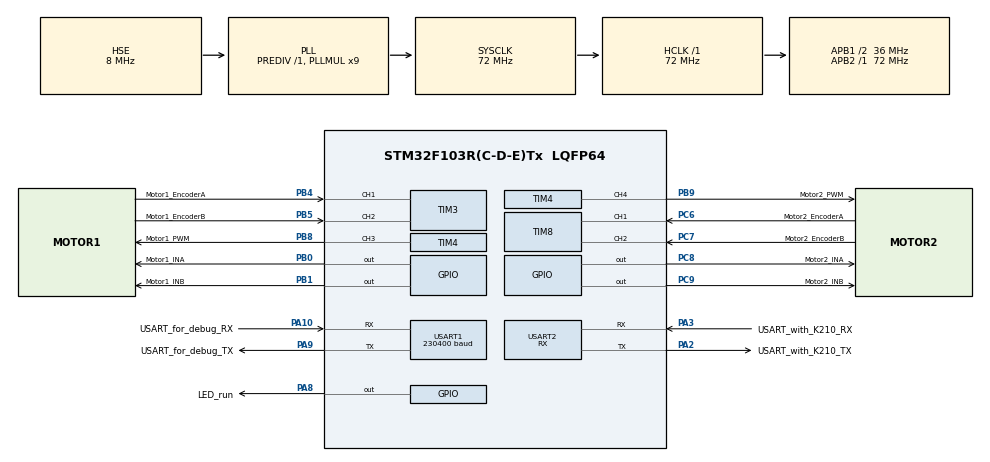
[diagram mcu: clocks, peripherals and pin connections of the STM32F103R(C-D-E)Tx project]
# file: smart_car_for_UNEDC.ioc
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Dma.Request0=USART1_RX
Dma.Request1=USART2_RX
Dma.Request2=USART1_TX
Dma.USART1_RX.0.Direction=DMA_PERIPH_TO_MEMORY
Dma.USART1_RX.0.Instance=DMA1_Channel5
Dma.USART1_RX.0.MemDataAlignment=DMA_MDATAALIGN_BYTE
Dma.USART1_RX.0.MemInc=DMA_MINC_ENABLE
Dma.USART1_RX.0.Mode=DMA_NORMAL
Dma.USART1_RX.0.PeriphDataAlignment=DMA_PDATAALIGN_BYTE
Dma.USART1_RX.0.PeriphInc=DMA_PINC_DISABLE
Dma.USART1_RX.0.Priority=DMA_PRIORITY_LOW
Dma.USART1_TX.2.Direction=DMA_MEMORY_TO_PERIPH
Dma.USART1_TX.2.Instance=DMA1_Channel4
Dma.USART1_TX.2.MemDataAlignment=DMA_MDATAALIGN_BYTE
Dma.USART1_TX.2.MemInc=DMA_MINC_ENABLE
Dma.USART1_TX.2.Mode=DMA_NORMAL
Dma.USART1_TX.2.PeriphDataAlignment=DMA_PDATAALIGN_BYTE
Dma.USART1_TX.2.PeriphInc=DMA_PINC_DISABLE
Dma.USART1_TX.2.Priority=DMA_PRIORITY_LOW
Dma.USART2_RX.1.Direction=DMA_PERIPH_TO_MEMORY
Dma.USART2_RX.1.Instance=DMA1_Channel6
Dma.USART2_RX.1.MemDataAlignment=DMA_MDATAALIGN_BYTE
Dma.USART2_RX.1.MemInc=DMA_MINC_ENABLE
Dma.USART2_RX.1.Mode=DMA_NORMAL
Dma.USART2_RX.1.PeriphDataAlignment=DMA_PDATAALIGN_BYTE
Dma.USART2_RX.1.PeriphInc=DMA_PINC_DISABLE
Dma.USART2_RX.1.Priority=DMA_PRIORITY_HIGH
Mcu.Family=STM32F1
Mcu.Name=STM32F103R(C-D-E)Tx
Mcu.Package=LQFP64
Mcu.UserConstants=huart_with_K210,huart2;hdma_usart_with_K210_rx,hdma_usart2_rx;hdma_usart_for_debug_rx,hdma_usart1_rx;huart_for_debug,huart1;hdma_usart_for_debug_tx,hdma_usart1_tx
NVIC.DMA1_Channel4_IRQn=true\:7\:0\:true\:false\:true\:false\:true\:true
NVIC.DMA1_Channel5_IRQn=true\:6\:0\:true\:false\:true\:false\:true\:true
NVIC.DMA1_Channel6_IRQn=true\:3\:0\:true\:false\:true\:false\:true\:true
NVIC.PriorityGroup=NVIC_PRIORITYGROUP_3
NVIC.TIM6_IRQn=true\:2\:0\:true\:false\:true\:true\:true\:true
NVIC.TIM7_IRQn=true\:1\:0\:true\:false\:true\:true\:true\:true
NVIC.USART1_IRQn=true\:6\:1\:true\:false\:true\:true\:true\:true
NVIC.USART2_IRQn=true\:3\:1\:true\:false\:true\:true\:true\:true
PA10.GPIO_Label=USART_for_debug_RX
PA10.Mode=Asynchronous
PA10.Signal=USART1_RX
PA13.GPIO_Label=SWDIO
PA13.Mode=Serial_Wire
PA13.Signal=SYS_JTMS-SWDIO
PA14.GPIO_Label=SWCLK
PA14.Mode=Serial_Wire
PA14.Signal=SYS_JTCK-SWCLK
PA2.GPIO_Label=USART_with_K210_TX
PA2.Mode=Asynchronous
PA2.Signal=USART2_TX
PA3.GPIO_Label=USART_with_K210_RX
PA3.Mode=Asynchronous
PA3.Signal=USART2_RX
PA8.GPIO_Label=LED_run
PA8.Signal=GPIO_Output
PA9.GPIO_Label=USART_for_debug_TX
PA9.Mode=Asynchronous
PA9.Signal=USART1_TX
PB0.GPIO_Label=Motor1_INA
PB0.GPIO_PuPd=GPIO_PULLDOWN
PB0.Signal=GPIO_Output
PB1.GPIO_Label=Motor1_INB
PB1.GPIO_PuPd=GPIO_PULLDOWN
PB1.Signal=GPIO_Output
PB4.GPIO_Label=Motor1_EncoderA
PB4.Signal=S_TIM3_CH1
PB5.GPIO_Label=Motor1_EncoderB
PB5.Signal=S_TIM3_CH2
PB8.GPIO_Label=Motor1_PWM
PB8.Signal=S_TIM4_CH3
PB9.GPIO_Label=Motor2_PWM
PB9.Signal=S_TIM4_CH4
PC6.GPIO_Label=Motor2_EncoderA
PC6.Signal=S_TIM8_CH1
PC7.GPIO_Label=Motor2_EncoderB
PC7.Signal=S_TIM8_CH2
PC8.GPIO_Label=Motor2_INA
PC8.Signal=GPIO_Output
PC9.GPIO_Label=Motor2_INB
PC9.Signal=GPIO_Output
PD0-OSC_IN.GPIO_Label=OSC_IN
PD0-OSC_IN.Mode=HSE-External-Oscillator
PD0-OSC_IN.Signal=RCC_OSC_IN
PD1-OSC_OUT.GPIO_Label=OSC_OUT
PD1-OSC_OUT.Mode=HSE-External-Oscillator
PD1-OSC_OUT.Signal=RCC_OSC_OUT
ProjectManager.HeapSize=0x200
ProjectManager.StackSize=0x400
ProjectManager.TargetToolchain=MDK-ARM V5
RCC.AHBFreq_Value=72000000
RCC.APB1CLKDivider=RCC_HCLK_DIV2
RCC.APB1Freq_Value=36000000
RCC.APB1TimFreq_Value=72000000
RCC.APB2Freq_Value=72000000
RCC.APB2TimFreq_Value=72000000
RCC.HCLKFreq_Value=72000000
RCC.PLLMUL=RCC_PLL_MUL9
RCC.PLLSourceVirtual=RCC_PLLSOURCE_HSE
RCC.SYSCLKFreq_VALUE=72000000
RCC.SYSCLKSource=RCC_SYSCLKSOURCE_PLLCLK
RCC.USBFreq_Value=72000000
SH.S_TIM3_CH1.0=TIM3_CH1,Encoder_Interface
SH.S_TIM3_CH2.0=TIM3_CH2,Encoder_Interface
SH.S_TIM4_CH3.0=TIM4_CH3,PWM Generation3 CH3
SH.S_TIM4_CH4.0=TIM4_CH4,PWM Generation4 CH4
SH.S_TIM8_CH1.0=TIM8_CH1,Encoder_Interface
SH.S_TIM8_CH2.0=TIM8_CH2,Encoder_Interface
TIM3.EncoderMode=TIM_ENCODERMODE_TI12
TIM3.IC1Filter=4
TIM3.IC2Filter=4
TIM4.AutoReloadPreload=TIM_AUTORELOAD_PRELOAD_ENABLE
TIM4.Channel-PWM\ Generation3\ CH3=TIM_CHANNEL_3
TIM4.Channel-PWM\ Generation4\ CH4=TIM_CHANNEL_4
TIM4.Period=2048 - 1
TIM4.Prescaler=1 - 1
TIM6.AutoReloadPreload=TIM_AUTORELOAD_PRELOAD_ENABLE
TIM6.Period=100 - 1
TIM6.Prescaler=7200 - 1
TIM7.AutoReloadPreload=TIM_AUTORELOAD_PRELOAD_ENABLE
TIM7.Period=200 - 1
TIM7.Prescaler=7200 - 1
TIM8.EncoderMode=TIM_ENCODERMODE_TI12
TIM8.IC1Filter=4
TIM8.IC2Filter=4
USART1.BaudRate=230400
USART1.VirtualMode=VM_ASYNC
USART2.Mode=MODE_RX
USART2.VirtualMode=VM_ASYNC
VP_TIM4_VS_ClockSourceINT.Mode=Internal
VP_TIM6_VS_ClockSourceINT.Mode=Enable_Timer
VP_TIM7_VS_ClockSourceINT.Mode=Enable_Timer
board=custom

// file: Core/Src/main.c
/* USER CODE BEGIN Header */
/**
 ******************************************************************************
 * @file           : main.c
 * @brief          : Main program body
 ******************************************************************************
 * @attention
 *
 * Copyright (c) 2023 STMicroelectronics.
 * All rights reserved.
 *
 * This software is licensed under terms that can be found in the LICENSE file
 * in the root directory of this software component.
 * If no LICENSE file comes with this software, it is provided AS-IS.
 *
 ******************************************************************************
 */
/* USER CODE END Header */
#include "main.h"
#include "dma.h"
#include "tim.h"
#include "usart.h"
#include "gpio.h"

/* USER CODE BEGIN Includes */
#include "debug.h"
#if IS_DEBUG_UART_ON && IS_DEBUG_ON
#include "receive.h"
#endif
#include "transmit.h"
#include "control.h"
#include "motor.h"
#include "task_process.h"

/* USER CODE END Includes */

void SystemClock_Config(void);

int main(void)
{

  /* MCU Configuration--------------------------------------------------------*/

  /* Reset of all peripherals, Initializes the Flash interface and the Systick. */
  HAL_Init();

  /* Configure the system clock */
  SystemClock_Config();

  /* Initialize all configured peripherals */
  MX_GPIO_Init();
  MX_DMA_Init();
  MX_TIM6_Init();
  MX_TIM7_Init();
  MX_TIM8_Init();
  MX_USART1_UART_Init();
  MX_TIM4_Init();
  MX_TIM3_Init();
  MX_USART2_UART_Init();
  /* USER CODE BEGIN 2 */
    // IN the Generated code, make sure the DMA is initialized before the UART.
    // CubeMX sometimes does the opposite and in that case, DMA won't work

    Receive_Init(&uart_receive_with_K210, &huart_with_K210);

#if IS_DEBUG_UART_ON && IS_DEBUG_ON
    Transmit_Init();
    Receive_Init(&uart_receive_for_debug, &huart_for_debug);
#endif // !IS_DEBUG_UART_ON && IS_DEBUG_ON

    // Timer Start
    HAL_TIM_Encoder_Start(&htim_Motor1_Encoder, TIM_CHANNEL_ENCODER_1);
    HAL_TIM_Encoder_Start(&htim_Motor1_Encoder, TIM_CHANNEL_ENCODER_2);
    HAL_TIM_Encoder_Start(&htim_Motor2_Encoder, TIM_CHANNEL_ENCODER_1);
    HAL_TIM_Encoder_Start(&htim_Motor2_Encoder, TIM_CHANNEL_ENCODER_2);
    HAL_TIM_Base_Start_IT(&htim_Task_Interval);
    HAL_TIM_Base_Start_IT(&htim_PID_Interval);

    // PID Param Init
    Control_PID_Init();

#if IS_DEBUG_UART_ON && IS_DEBUG_ON

#if IS_DEBUG_UART_PID_LOOP_SPEED || IS_DEBUG_UART_PID_LOOP_LOCATION_SPEED
    Motor_Enable(MOTOR1);
    Motor_Enable(MOTOR2);
#endif // !IS_DEBUG_UART_PID_LOOP_SPEED || IS_DEBUG_UART_PID_LOOP_LOCATION_SPEED
#endif // !IS_DEBUG_UART_ON && IS_DEBUG_ON
    TaskProcess_Init();
#if IS_DEBUG_IN_MAIN_C_ON
    HAL_Delay(5000);
    pid_set_target(&pids.location, 100);
#endif // !IS_DEBUG_IN_MAIN_C_ON

  /* USER CODE END 2 */

  /* Infinite loop */
  /* USER CODE BEGIN WHILE */
    while (1)
    {
#if IS_DEBUG_IN_MAIN_C_ON
        if (pids.speed.motor1.set <= 1 && pids.speed.motor1.set >= -1)
        {
            HAL_Delay(2000);
            pid_set_target(&pids.location, -pids.location.set);
        }
#endif // !IS_DEBUG_IN_MAIN_C_ON
    /* USER CODE END WHILE */

    }
}

void SystemClock_Config(void)
{
  RCC_OscInitTypeDef RCC_OscInitStruct = {0};
  RCC_ClkInitTypeDef RCC_ClkInitStruct = {0};

  /** Initializes the RCC Oscillators according to the specified parameters
  * in the RCC_OscInitTypeDef structure.
  */
  RCC_OscInitStruct.OscillatorType = RCC_OSCILLATORTYPE_HSE;
  RCC_OscInitStruct.HSEState = RCC_HSE_ON;
  RCC_OscInitStruct.HSEPredivValue = RCC_HSE_PREDIV_DIV1;
  RCC_OscInitStruct.HSIState = RCC_HSI_ON;
  RCC_OscInitStruct.PLL.PLLState = RCC_PLL_ON;
  RCC_OscInitStruct.PLL.PLLSource = RCC_PLLSOURCE_HSE;
  RCC_OscInitStruct.PLL.PLLMUL = RCC_PLL_MUL9;
  if (HAL_RCC_OscConfig(&RCC_OscInitStruct) != HAL_OK)
  {
    Error_Handler();
  }

  /** Initializes the CPU, AHB and APB buses clocks
  */
  RCC_ClkInitStruct.ClockType = RCC_CLOCKTYPE_HCLK|RCC_CLOCKTYPE_SYSCLK
                              |RCC_CLOCKTYPE_PCLK1|RCC_CLOCKTYPE_PCLK2;
  RCC_ClkInitStruct.SYSCLKSource = RCC_SYSCLKSOURCE_PLLCLK;
  RCC_ClkInitStruct.AHBCLKDivider = RCC_SYSCLK_DIV1;
  RCC_ClkInitStruct.APB1CLKDivider = RCC_HCLK_DIV2;
  RCC_ClkInitStruct.APB2CLKDivider = RCC_HCLK_DIV1;

  if (HAL_RCC_ClockConfig(&RCC_ClkInitStruct, FLASH_LATENCY_2) != HAL_OK)
  {
    Error_Handler();
  }
}

void Error_Handler(void)
{
    __disable_irq();
    while (1)
    {
    }
}
